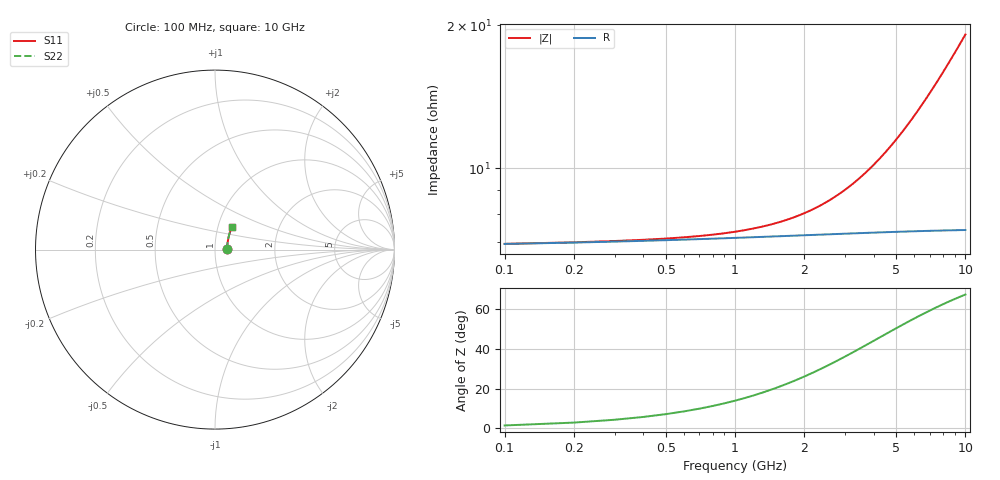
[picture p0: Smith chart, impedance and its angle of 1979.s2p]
# Hz S RI R 50.00
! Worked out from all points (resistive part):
!   100 points, 100 MHz to 10 GHz, reference 50 ohm
!   read as one part in series: R = 6.93 ohm at 100 MHz
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1e8  0.0648 0.00131  0.9352 -0.00178  0.9352 -0.00178  0.0648 0.00131
2e8  0.0652 0.00261  0.9348 -0.00355  0.9348 -0.00355  0.0652 0.00261
3e8  0.0655 0.00392  0.9345 -0.00533  0.9345 -0.00533  0.0655 0.00392
8e8  0.0666 0.0104  0.9334 -0.0142  0.9334 -0.0142  0.0666 0.0104
1.1e9  0.067 0.0143  0.9329 -0.0195  0.9329 -0.0195  0.067 0.0143
1.4e9  0.0675 0.0182  0.9325 -0.0248  0.9325 -0.0248  0.0675 0.0182
1.6e9  0.0678 0.0208  0.9322 -0.0283  0.9322 -0.0283  0.0678 0.0208
1.8e9  0.0681 0.0234  0.9318 -0.0318  0.9318 -0.0318  0.0681 0.0234
2.1e9  0.0686 0.0272  0.9314 -0.0371  0.9314 -0.0371  0.0686 0.0272
2.5e9  0.0692 0.0324  0.9307 -0.0442  0.9307 -0.0442  0.0692 0.0324
2.9e9  0.07 0.0375  0.9299 -0.0512  0.9299 -0.0512  0.07 0.0375
3.4e9  0.0709 0.0439  0.9289 -0.06  0.9289 -0.06  0.0709 0.0439
3.9e9  0.072 0.0503  0.9278 -0.0687  0.9278 -0.0687  0.072 0.0503
5.1e9  0.075 0.0655  0.9247 -0.0896  0.9247 -0.0896  0.075 0.0655
5.9e9  0.0773 0.0756  0.9223 -0.1034  0.9223 -0.1034  0.0773 0.0756
6.7e9  0.0799 0.0855  0.9196 -0.1171  0.9196 -0.1171  0.0799 0.0855
7.2e9  0.0816 0.0917  0.9177 -0.1257  0.9177 -0.1257  0.0816 0.0917
7.6e9  0.0831 0.0966  0.9162 -0.1325  0.9162 -0.1325  0.0831 0.0966
8e9  0.0847 0.1015  0.9146 -0.1392  0.9146 -0.1392  0.0847 0.1015
8.4e9  0.0863 0.1063  0.9129 -0.146  0.9129 -0.146  0.0863 0.1063
9.2e9  0.0898 0.1159  0.9092 -0.1593  0.9092 -0.1593  0.0898 0.1159
1e10  0.0935 0.1254  0.9053 -0.1726  0.9053 -0.1726  0.0935 0.1254
